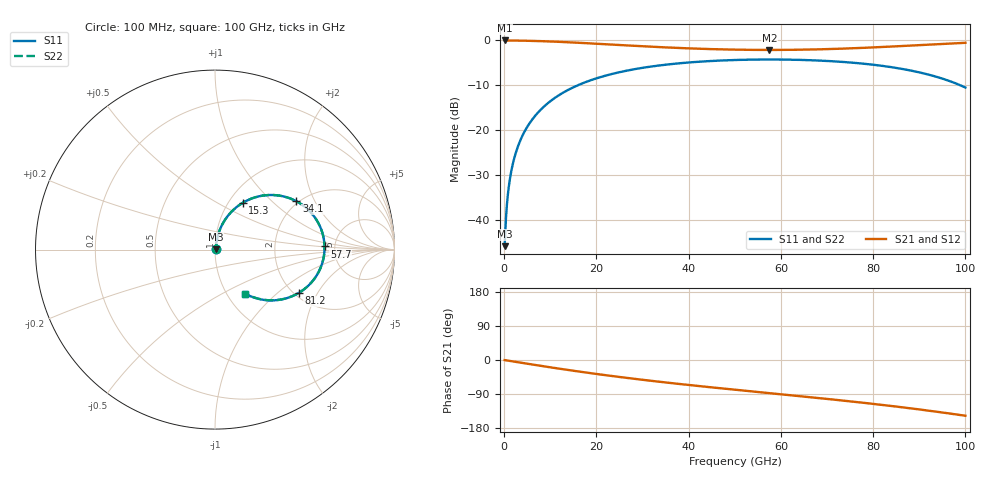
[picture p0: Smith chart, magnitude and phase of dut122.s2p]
! Touchstone file exported from HFSS 2026.1.0
!  File:  C:/ffzhzh/LocalFiles/Ansys_Project_Files/temp_train_RDL_122_1783499448_55944.aedt
!  Generated:  04:31:54 PM Jul  8, 2026
!  Design:  RDL
!  Project:  temp_train_RDL_122_1783499448_55944
! Variables:
!  h_bsmrdl = 2um
!  h_ox = 20um
!  h_rdl = 5um
!  h_sub = 80um
!  h_tmrdl = 2.35um
!  h_tsv = 80um
!  h_via = 3um
!  l_bsmrdl = 300um
!  l_sub = 899.83um
!  l_tmrdl = 499.83um
!  m_sub = 200um
!  pitch = 44.71um
!  r_tsv = 6um
!  s_tmrdl = 10um
!  w_bsmrdl = 18um
!  w_sub = 500um
!  w_tmrdl = 17.63um
!  x_tsv_center1 = 508.645um
!  x_tsv_center2 = 826.645um
!  x_tsv_center3 = 1344.105um
!  x_tsv_center4 = 1662.105um
!  x_tsv_center5 = 2179.565um
!  x_tsv_center6 = 2497.565um
# GHz S MA R 50.000000
! Terminal data exported
! Port[1] = TM_RDL1_1_T1
! Port[2] = TM_RDL1_1_T2
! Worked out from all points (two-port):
!   1000 points, 100 MHz to 100 GHz, reference 50 ohm
!   highest |S21| = -0.04 dB at 100 MHz (marker M1); lowest = -2.2 dB at 57.5 GHz (marker M2)
!   |S21| within 3 dB of the highest: start of sweep to end of sweep
!   lowest |S11| = -45.9 dB at 100 MHz (marker M3), VSWR 1.01, Z = 50.4 + j0.238 ohm
!   |S11| at or under -10 dB: start of sweep to 16.06 GHz; 98.81 GHz to end of sweep
!   |S22| runs from -45.9 to -4.3 dB; largest |S21 - S12| = 2e-14
!   S11 on the Smith chart (normalised r, x): 100 MHz: 1.01, +0.00; 15.3 GHz: 1.16, +0.67; 34.1 GHz: 1.94, +1.45; 57.7 GHz: 4.12, +0.23; 81.2 GHz: 2.10, -1.41; 100 GHz: 1.21, -0.65
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0.1  0.005052 27.9  0.9955 -0.2  0.9955 -0.2  0.005052 27.9
! Gamma 0 0 0 0
! Port Impedance 50 0 50 0
0.9  0.02098 73.5  0.9945 -1.8  0.9945 -1.8  0.02098 73.5
1.5  0.03368 77.4  0.9938 -3.0  0.9938 -3.0  0.03368 77.4
2.5  0.05501 78.9  0.9926 -4.9  0.9926 -4.9  0.05501 78.9
3.9  0.08484 78.1  0.9901 -7.7  0.9901 -7.7  0.08484 78.1
5.9  0.1268 75.4  0.9851 -11.5  0.9851 -11.5  0.1268 75.4
8.4  0.1776 71.2  0.9765 -16.3  0.9765 -16.3  0.1776 71.2
11.5  0.2371 65.8  0.9628 -22.1  0.9628 -22.1  0.2371 65.8
15.3  0.3038 59.3  0.9428 -28.9  0.9428 -28.9  0.3038 59.3
16.8  0.3281 56.7  0.9343 -31.5  0.9343 -31.5  0.3281 56.7
24.6  0.4359 44.3  0.8882 -44.2  0.8882 -44.2  0.4359 44.3
33.4  0.522 31.7  0.8407 -57.1  0.8407 -57.1  0.522 31.7
34.1  0.5274 30.7  0.8373 -58.0  0.8373 -58.0  0.5274 30.7
42.1  0.5759 20.3  0.8054 -68.6  0.8054 -68.6  0.5759 20.4
50.1  0.6027 10.6  0.7862 -78.5  0.7862 -78.5  0.6027 10.6
57.5  0.6106 1.9  0.7803 -87.4  0.7803 -87.4  0.6106 1.9
57.7  0.6106 1.6  0.7803 -87.7  0.7803 -87.7  0.6106 1.7
66.7  0.5986 -9.1  0.7893 -98.6  0.7893 -98.6  0.5986 -9.0
81.2  0.5246 -27.5  0.8381 -117.5  0.8381 -117.5  0.5247 -27.4
83.4  0.5064 -30.5  0.8486 -120.6  0.8486 -120.6  0.5065 -30.4
92  0.4142 -43.1  0.8946 -133.6  0.8946 -133.6  0.4143 -43.0
100  0.2969 -55.7  0.937 -147.1  0.937 -147.1  0.297 -55.5
